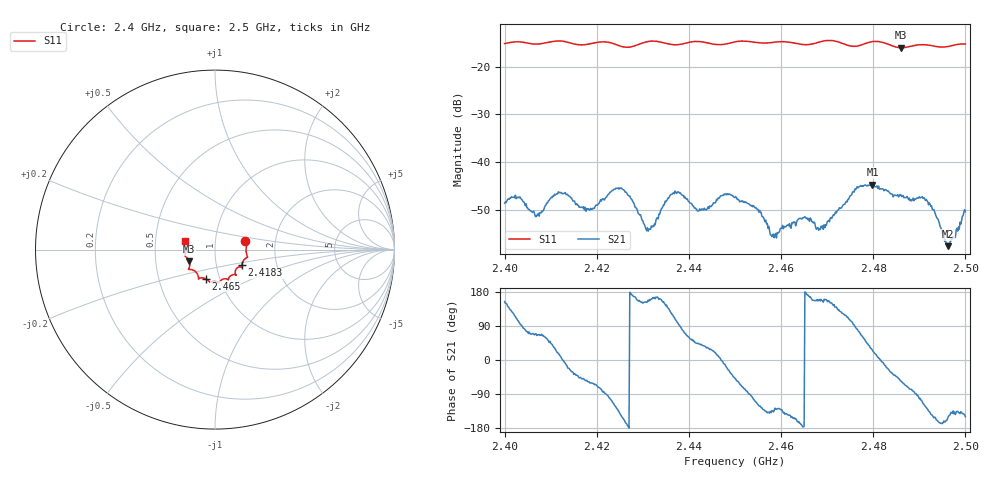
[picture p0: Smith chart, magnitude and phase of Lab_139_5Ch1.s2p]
# Hz S RI R 50
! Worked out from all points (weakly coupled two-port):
!   601 points, 2.4 GHz to 2.5 GHz, reference 50 ohm
!   highest |S21| = -44.69 dB at 2.4798 GHz (marker M1); lowest = -57.6 dB at 2.4962 GHz (marker M2)
!   lowest |S11| = -16.0 dB at 2.486 GHz (marker M3), VSWR 1.38, Z = 37.1 - j4.96 ohm
!   |S11| at or under -10 dB: start of sweep to end of sweep
!   S12 and S22 are empty: the file has one direction only
!   S11 on the Smith chart (normalised r, x): 2.4 GHz: 1.40, +0.13; 2.4183 GHz: 1.33, -0.24; 2.465 GHz: 0.86, -0.29; 2.5 GHz: 0.71, +0.07
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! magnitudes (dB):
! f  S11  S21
! 2.4 GHz  -15.1  -48.6
! 2.407 GHz  -15.3  -51.1
! 2.4122 GHz  -14.6  -46.4
! 2.4167 GHz  -15.4  -49.4
! 2.4183 GHz  -15.2  -49.9
! 2.425 GHz  -15.6  -45.4
! 2.431 GHz  -14.7  -53.8
! 2.4333 GHz  -14.7  -51.9
! 2.4372 GHz  -15.4  -46.4
! 2.4422 GHz  -14.7  -50.2
! 2.45 GHz  -14.8  -47.4
! 2.4552 GHz  -15.0  -50.5
! 2.4582 GHz  -14.9  -55.3
! 2.465 GHz  -15.4  -51.6
! 2.4667 GHz  -15.2  -52.5
! 2.4693 GHz  -14.6  -53.1
! 2.4798 GHz  -14.7  -44.7
! 2.4833 GHz  -15.3  -46.2
! 2.486 GHz  -16.0  -46.9
! 2.4913 GHz  -15.4  -48.0
! 2.4962 GHz  -15.8  -57.6
! 2.5 GHz  -15.2  -50.4
